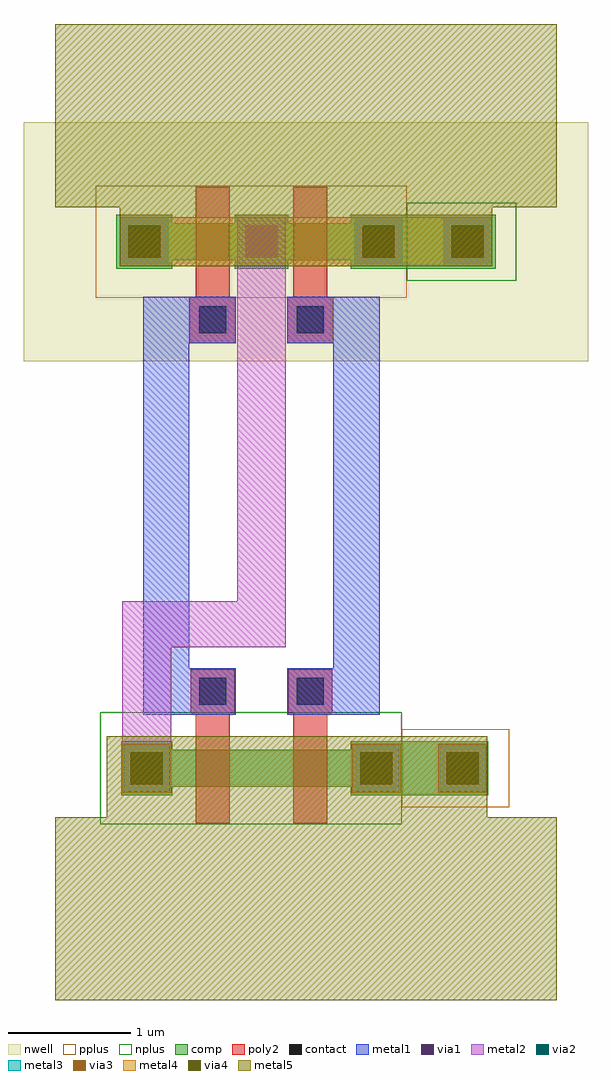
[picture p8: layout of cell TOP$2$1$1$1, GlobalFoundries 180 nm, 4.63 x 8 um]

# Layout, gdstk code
import gdstk
lib = gdstk.Library(unit=1e-6, precision=1e-09)
def R(c, l, rs):  # rectangles x0, y0, x1, y1
    for r in rs: c.add(gdstk.rectangle(r[:2], r[2:], *l))
nwell = (21, 0)
comp = (22, 0)
poly2 = (30, 0)
pplus = (31, 0)
nplus = (32, 0)
contact = (33, 0)
metal1 = (34, 0)
via1 = (35, 0)
metal2 = (36, 0)
via2 = (38, 0)
via3 = (40, 0)
via4 = (41, 0)
metal3 = (42, 0)
metal4 = (46, 0)
metal5 = (81, 0)

nfet_1_1_1_1 = lib.new_cell('nfet$1$1$1$1')
R(nfet_1_1_1_1, comp, [(-0.42,-0.07,0,0.37), (1.46,-0.07,1.88,0.37), (1.88,-0.07,2.59,0.37), (0,0,1.46,0.3)])
R(nfet_1_1_1_1, poly2, [(0.19,-0.3,0.47,0.6), (0.99,-0.3,1.27,0.6), (0.15,0.6,0.51,0.96), (0.95,0.6,1.31,0.96)])
R(nfet_1_1_1_1, pplus, [(1.88,-0.17,2.76,0.47)])
R(nfet_1_1_1_1, nplus, [(-0.59,-0.31,1.88,0.61)])
R(nfet_1_1_1_1, contact, [(-0.32,0.04,-0.1,0.26), (1.56,0.04,1.78,0.26), (2.27,0.04,2.49,0.26), (0.22,0.67,0.44,0.89), (1.02,0.67,1.24,0.89)])
R(nfet_1_1_1_1, metal1, [(-0.4,-0.041,-0.02,0.341), (1.48,-0.041,1.86,0.341), (2.19,-0.041,2.57,0.341), (0.14,0.589,0.52,0.971), (0.94,0.589,1.32,0.971)])

pfet_2_1_1_1_1 = lib.new_cell('pfet$2$1$1$1$1')
R(pfet_2_1_1_1_1, nwell, [(-1.22,-0.83,3.41,1.13)])
R(pfet_2_1_1_1_1, comp, [(-0.46,-0.07,0,0.37), (1.46,-0.07,1.92,0.37), (1.92,-0.07,2.65,0.37), (0,0,1.46,0.3)])
R(pfet_2_1_1_1_1, poly2, [(0.14,-0.68,0.52,-0.3), (0.94,-0.68,1.32,-0.3), (0.19,-0.3,0.47,0.6), (0.99,-0.3,1.27,0.6)])
R(pfet_2_1_1_1_1, pplus, [(-0.63,-0.31,1.92,0.61)])
R(pfet_2_1_1_1_1, nplus, [(1.92,-0.17,2.82,0.47)])
R(pfet_2_1_1_1_1, contact, [(0.22,-0.6,0.44,-0.38), (1.02,-0.6,1.24,-0.38), (-0.34,0.04,-0.12,0.26), (1.58,0.04,1.8,0.26), (2.31,0.04,2.53,0.26)])
R(pfet_2_1_1_1_1, metal1, [(0.14,-0.681,0.52,-0.299), (0.94,-0.681,1.32,-0.299), (-0.42,-0.041,-0.04,0.341), (1.5,-0.041,1.88,0.341), (2.23,-0.041,2.61,0.341)])

via_dev_5_1_1_1_1 = lib.new_cell('via_dev$5$1$1$1$1')
R(via_dev_5_1_1_1_1, metal1, [(0,0,0.4,0.4)])
R(via_dev_5_1_1_1_1, via1, [(0.07,0.07,0.33,0.33)])
R(via_dev_5_1_1_1_1, metal2, [(0,0,0.4,0.4)])
R(via_dev_5_1_1_1_1, via2, [(0.07,0.07,0.33,0.33)])
R(via_dev_5_1_1_1_1, via3, [(0.07,0.07,0.33,0.33)])
R(via_dev_5_1_1_1_1, via4, [(0.07,0.07,0.33,0.33)])
R(via_dev_5_1_1_1_1, metal3, [(0,0,0.4,0.4)])
R(via_dev_5_1_1_1_1, metal4, [(0,0,0.4,0.4)])
R(via_dev_5_1_1_1_1, metal5, [(0,0,0.4,0.4)])

via_dev_2_1_1_1_1 = lib.new_cell('via_dev$2$1$1$1$1')
R(via_dev_2_1_1_1_1, metal1, [(0,0,0.4,0.4)])
R(via_dev_2_1_1_1_1, via1, [(0.07,0.07,0.33,0.33)])
R(via_dev_2_1_1_1_1, metal2, [(0,0,0.4,0.4)])

via_dev_4_1_1_1_1 = lib.new_cell('via_dev$4$1$1$1$1')
R(via_dev_4_1_1_1_1, metal2, [(0,0,0.4,0.4)])
R(via_dev_4_1_1_1_1, via2, [(0.07,0.07,0.33,0.33)])
R(via_dev_4_1_1_1_1, via3, [(0.07,0.07,0.33,0.33)])
R(via_dev_4_1_1_1_1, via4, [(0.07,0.07,0.33,0.33)])
R(via_dev_4_1_1_1_1, metal3, [(0,0,0.4,0.4)])
R(via_dev_4_1_1_1_1, metal4, [(0,0,0.4,0.4)])
R(via_dev_4_1_1_1_1, metal5, [(0,0,0.4,0.4)])

pfet_3_1_1_1 = lib.new_cell('pfet$3$1$1$1')

top_2_1_1_1 = lib.new_cell('TOP$2$1$1$1')
R(top_2_1_1_1, comp, [(1.47,5.995,1.91,6.435)])
R(top_2_1_1_1, contact, [(1.58,6.105,1.8,6.325)])
R(top_2_1_1_1, metal1, [(0.72,2.339,1.1,5.766), (2.28,2.339,2.66,5.766)])
R(top_2_1_1_1, metal2, [(0.55,2.1,0.95,2.89), (0.55,2.89,1.89,3.27), (1.49,3.27,1.89,6.015)])
R(top_2_1_1_1, metal4, [(0.53,6.015,3.58,6.415)])
R(top_2_1_1_1, metal5, [(0,0,4.11,1.5), (0.42,1.5,3.54,2.16), (0.53,6.015,3.58,6.5), (0,6.5,4.11,8)])
top_2_1_1_1.add(gdstk.Reference(nfet_1_1_1_1, (0.96,1.75)))
top_2_1_1_1.add(gdstk.Reference(pfet_2_1_1_1_1, (0.96,6.065)))
top_2_1_1_1.add(gdstk.Reference(via_dev_5_1_1_1_1, (3.18,6.015)))
top_2_1_1_1.add(gdstk.Reference(via_dev_2_1_1_1_1, (1.49,6.015)))
top_2_1_1_1.add(gdstk.Reference(via_dev_5_1_1_1_1, (0.53,6.015)))
top_2_1_1_1.add(gdstk.Reference(via_dev_4_1_1_1_1, (0.55,1.7)))
top_2_1_1_1.add(gdstk.Reference(via_dev_4_1_1_1_1, (2.43,1.7)))
top_2_1_1_1.add(gdstk.Reference(via_dev_5_1_1_1_1, (2.45,6.015)))
top_2_1_1_1.add(gdstk.Reference(via_dev_4_1_1_1_1, (3.14,1.7)))
top_2_1_1_1.add(gdstk.Reference(pfet_3_1_1_1, (1.505,3.22)))
top_2_1_1_1.add(gdstk.Reference(pfet_3_1_1_1, (2.115,4.64)))
top_2_1_1_1.add(gdstk.Reference(pfet_3_1_1_1, (2.205,4.77)))

lib.write_gds('TOP_2_1_1_1.gds')
